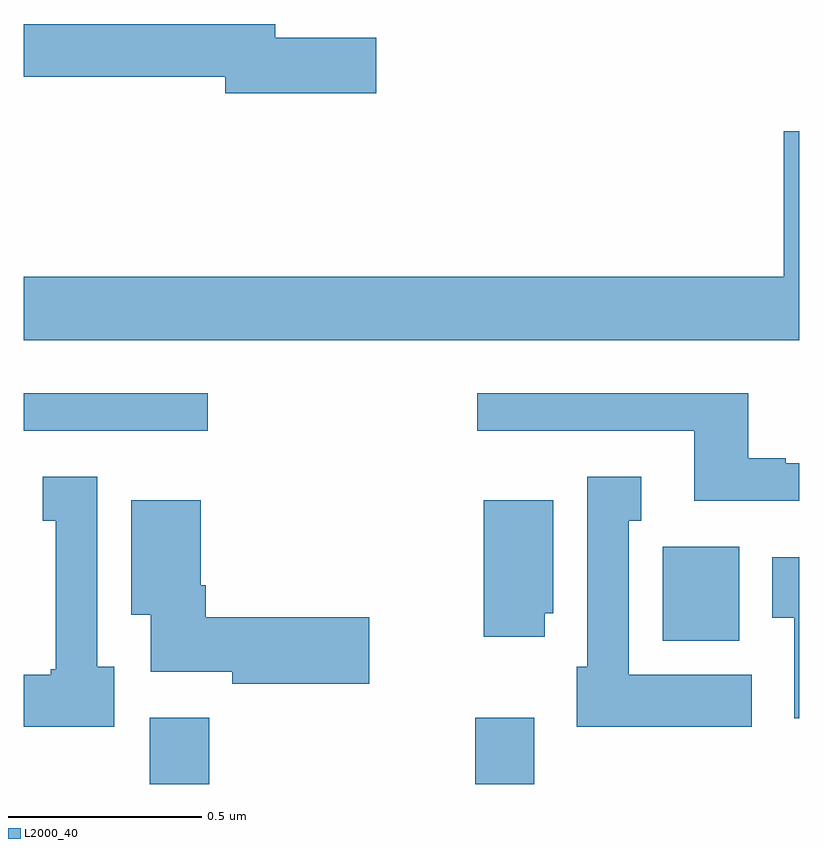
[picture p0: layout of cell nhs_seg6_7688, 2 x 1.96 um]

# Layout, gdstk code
import gdstk
lib = gdstk.Library(unit=1e-6, precision=1e-09)
def R(c, l, rs):  # rectangles x0, y0, x1, y1
    for r in rs: c.add(gdstk.rectangle(r[:2], r[2:], *l))
def P(c, l, *ps):  # polygons
    for p in ps: c.add(gdstk.Polygon(p, *l))
L2000_40 = (2000, 40)

nhs_seg6_7688 = lib.new_cell('nhs_seg6_7688')
R(nhs_seg6_7688, L2000_40, [(211.325,971.5,211.478,971.671), (212.165,971.5,212.317,971.671), (212.648,971.87,212.845,972.112), (211,972.411,211.474,972.508)])
P(nhs_seg6_7688, L2000_40, [(211.909,973.424),(211.648,973.424),(211.648,973.46),(211,973.46),(211,973.324),(211.52,973.324),(211.52,973.282),(211.909,973.282)],
  [(213,973.183),(212.96,973.183),(212.96,972.808),(211,972.808),(211,972.644),(213,972.644)],
  [(213,972.327),(212.965,972.327),(212.965,972.34),(212.869,972.34),(212.869,972.508),(212.169,972.508),(212.169,972.411),(212.729,972.411),(212.729,972.23),(213,972.23)],
  [(212.878,971.782),(212.56,971.782),(212.56,972.179),(212.593,972.179),(212.593,972.292),(212.453,972.292),(212.453,971.802),(212.426,971.802),(212.426,971.648),(212.878,971.648)],
  [(211.234,971.802),(211.189,971.802),(211.189,972.292),(211.049,972.292),(211.049,972.179),(211.082,972.179),(211.082,971.796),(211.069,971.796),(211.069,971.782),(211,971.782),(211,971.648),(211.234,971.648)],
  [(211.891,971.93),(211.469,971.93),(211.469,972.013),(211.456,972.013),(211.456,972.232),(211.277,972.232),(211.277,971.936),(211.328,971.936),(211.328,971.789),(211.538,971.789),(211.538,971.759),(211.891,971.759)],
  [(212.344,971.94),(212.365,971.94),(212.365,972.232),(212.186,972.232),(212.186,971.88),(212.344,971.88)],
  [(213,972.085),(212.93,972.085),(212.93,971.929),(212.987,971.929),(212.987,971.67),(213,971.67)])

lib.write_gds('nhs_seg6_7688.gds')
